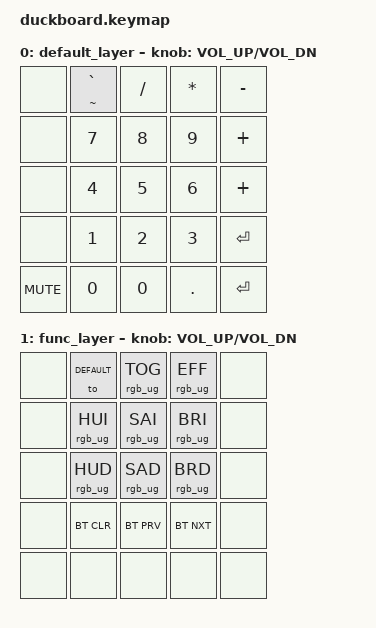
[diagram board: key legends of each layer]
/* Copyright (c) 2022 The ZMK Contributors
 * SPDX-License-Identifier: MIT
 *
 * Author: prizef
 */

#include <behaviors.dtsi>
#include <dt-bindings/zmk/keys.h>
#include <dt-bindings/zmk/rgb.h>
#include <dt-bindings/zmk/bt.h>
#include <dt-bindings/zmk/ext_power.h>
#include <dt-bindings/zmk/outputs.h>

#define DEFAULT 0
#define FUNC 1
#define TIMEOUT 200

/ {
    combos {
        compatible = "zmk,combos";
        combo_bootloader {
            timeout-ms = <TIMEOUT>;
            key-positions = <1 4>;
            bindings = <&bootloader>;
        };
        combo_reset {
            timeout-ms = <TIMEOUT>;
            key-positions = <1 3>;
            bindings = <&reset>;
        };
        combo_layer0 {
            timeout-ms = <TIMEOUT>;
            key-positions = <1 16>;
            bindings = <&to DEFAULT>;
        };
        combo_layer1 {
            timeout-ms = <TIMEOUT>;
            key-positions = <1 17>;
            bindings = <&to FUNC>;
        };  
    };
    behaviors {
        ht: hold_tap {
            compatible = "zmk,behavior-hold-tap";
            label = "Hold Tap";
            #binding-cells = <2>;
            tapping-term-ms = <TIMEOUT>;
            flavor = "tap-preferred";
            bindings = <&kp>, <&kp>;
        };
    };
    keymap {
        compatible = "zmk,keymap";
        
        default_layer {
            bindings = <
                &none       &ht TILDE GRAVE  &kp SLASH      &kp ASTERISK    &kp MINUS
                &none       &kp NUMBER_7     &kp NUMBER_8   &kp NUMBER_9    &kp PLUS
                &none       &kp NUMBER_4     &kp NUMBER_5   &kp NUMBER_6    &kp PLUS
                &none       &kp NUMBER_1     &kp NUMBER_2   &kp NUMBER_3    &kp ENTER
                &kp C_MUTE  &kp NUMBER_0     &kp NUMBER_0   &kp DOT         &kp ENTER
            >;

            sensor-bindings = <&inc_dec_kp C_VOL_UP C_VOL_DN>;
        };

         func_layer {
             bindings = <
                &none   &to DEFAULT      &rgb_ug RGB_TOG  &rgb_ug RGB_EFF  &none
                &none   &rgb_ug RGB_HUI  &rgb_ug RGB_SAI  &rgb_ug RGB_BRI  &none
                &none   &rgb_ug RGB_HUD  &rgb_ug RGB_SAD  &rgb_ug RGB_BRD  &none
                &none   &bt BT_CLR       &bt BT_PRV       &bt BT_NXT       &none
                &none   &none            &none            &none            &none
            >;

            sensor-bindings = <&inc_dec_kp C_VOL_UP C_VOL_DN>;
         };
    };
};
